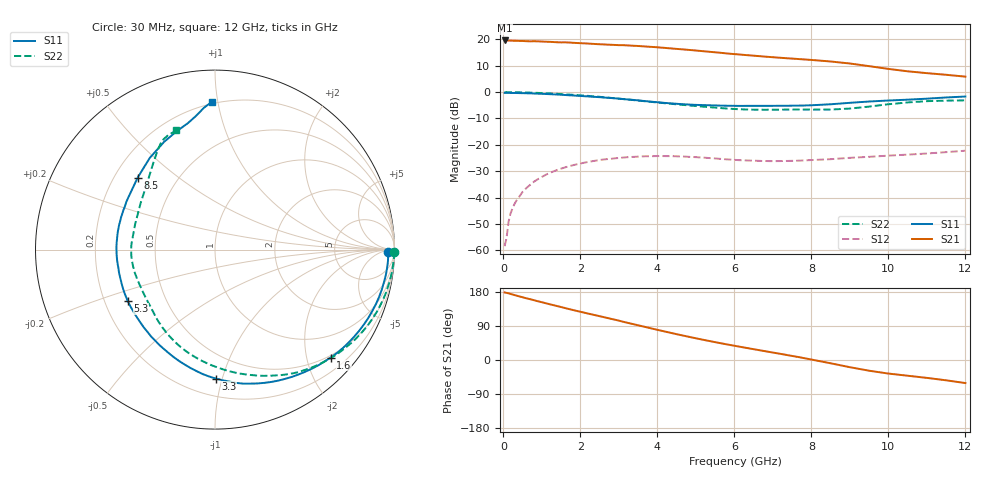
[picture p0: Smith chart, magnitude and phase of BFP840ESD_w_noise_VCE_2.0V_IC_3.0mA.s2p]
! Infineon Technologies  Discrete & RF Semiconductors
! BFP840ESD
! VCE =  2.0 V,  IC =  3.0 mA
! Common Emitter S-Parameters:  May 2012
# GHz  S  MA  R  50
!  f  S11  S21  S12  S22
! GHz  MAG  ANG  MAG  ANG  MAG  ANG  MAG  ANG
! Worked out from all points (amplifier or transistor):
!   93 points, 30 MHz to 12 GHz, reference 50 ohm
!   highest |S21| = 19.6 dB at 30 MHz (marker M1)
!   |S21| within 3 dB of that: start of sweep to 4.337 GHz
!   unconditionally stable (mu >= 1): 6.59 GHz to 10.47 GHz
!   at 1.1 GHz: K = 0.14, MSG = 25.2 dB, |S12| = -31.3 dB
!   at 4.2 GHz: K = 0.46, MSG = 20.5 dB, |S12| = -24.3 dB
!   at 12 GHz: K = 0.65, MSG = 14.0 dB, |S12| = -22.2 dB
!   lowest NFmin = 0.48 dB at 450 MHz
!   S11 on the Smith chart (normalised r, x): 30 MHz: 50, -20; 1.6 GHz: 0.46, -2.47; 3.3 GHz: 0.32, -0.95; 5.3 GHz: 0.30, -0.25; 8.5 GHz: 0.30, +0.36; 12 GHz: 0.19, +0.96
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0.03  0.9659 -0.8  9.539 178.3  0.0012 44.6  0.9976 -0.7
0.18  0.9652 -4.9  9.466 174.5  0.0049 87.7  0.9964 -4.3
0.5  0.9558 -13.5  9.321 165.5  0.0129 78.9  0.9864 -11.8
0.9  0.9348 -24.2  9.171 154.9  0.0225 70.1  0.9655 -21.2
1.2  0.9143 -32.2  8.976 147.2  0.0294 63.2  0.9436 -28.2
1.6  0.8818 -43.0  8.793 137.1  0.0374 55.2  0.9078 -37.4
2.1  0.8371 -56.2  8.404 124.9  0.0459 45.4  0.8585 -48.8
2.6  0.7916 -69.7  8.025 113.2  0.0528 36.0  0.8018 -60.1
3.1  0.7387 -84.0  7.774 101.1  0.0574 27.5  0.7401 -71.5
3.3  0.7185 -89.7  7.633 96.3  0.0588 24.2  0.7151 -76.4
3.7  0.6743 -101.5  7.324 86.8  0.0608 17.9  0.6681 -86.3
4.1  0.6326 -113.8  6.976 77.3  0.0614 11.8  0.6252 -96.4
4.7  0.5879 -132.3  6.423 63.7  0.06 4.2  0.5698 -111.0
5.3  0.5643 -149.5  5.866 51.1  0.0566 -1.4  0.5227 -124.3
6.1  0.5479 -169.1  5.193 35.8  0.0514 -3.8  0.4748 -141.5
6.7  0.5493 177.7  4.774 24.9  0.0495 -2.8  0.4636 -155.2
7.5  0.5533 161.3  4.322 10.7  0.0498 -0.2  0.4672 -172.8
8.5  0.5885 137.1  3.808 -8.7  0.0535 1.9  0.4667 162.7
9  0.6271 125.4  3.487 -19.0  0.0568 1.5  0.4882 148.2
9.5  0.6639 115.3  3.106 -28.3  0.0593 0.2  0.5319 135.1
10.5  0.7192 102.3  2.481 -41.5  0.0653 -2.3  0.6373 120.2
12  0.8247 91.1  1.964 -60.9  0.0775 -6.9  0.6981 108.0
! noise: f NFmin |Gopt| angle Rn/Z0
0.45  0.48  0.61  2  0.3
0.9  0.49  0.61  7  0.27
1.5  0.53  0.61  19  0.23
1.9  0.58  0.6  21  0.2
2.4  0.61  0.53  33  0.19
3.5  0.68  0.43  58  0.15
5.5  0.87  0.32  116  0.11
8  1.11  0.43  -150  0.06
10  1.33  0.54  -108  0.16
12  1.62  0.59  -85  0.28
